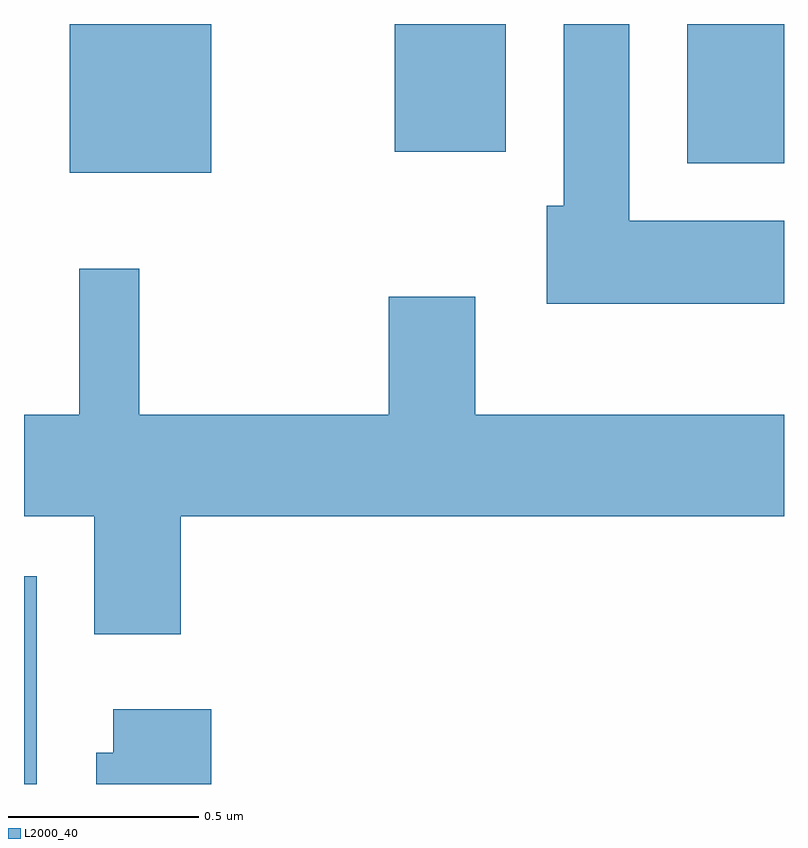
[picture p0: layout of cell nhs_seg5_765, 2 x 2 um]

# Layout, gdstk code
import gdstk
lib = gdstk.Library(unit=1e-6, precision=1e-09)
def R(c, l, rs):  # rectangles x0, y0, x1, y1
    for r in rs: c.add(gdstk.rectangle(r[:2], r[2:], *l))
def P(c, l, *ps):  # polygons
    for p in ps: c.add(gdstk.Polygon(p, *l))
L2000_40 = (2000, 40)

nhs_seg5_765 = lib.new_cell('nhs_seg5_765')
R(nhs_seg5_765, L2000_40, [(190.611,1476.072,190.644,1476.619), (190.731,1477.681,191.104,1478.072), (192.356,1477.706,192.611,1478.072), (191.586,1477.736,191.879,1478.072)])
P(nhs_seg5_765, L2000_40, [(192.611,1477.554),(192.204,1477.554),(192.204,1478.072),(192.031,1478.072),(192.031,1477.594),(191.986,1477.594),(191.986,1477.336),(192.611,1477.336)],
  [(191.024,1476.776),(192.611,1476.776),(192.611,1477.044),(191.799,1477.044),(191.799,1477.354),(191.571,1477.354),(191.571,1477.044),(190.914,1477.044),(190.914,1477.428),(190.756,1477.428),(190.756,1477.044),(190.611,1477.044),(190.611,1476.776),(190.796,1476.776),(190.796,1476.466),(191.024,1476.466)],
  [(191.104,1476.269),(190.846,1476.269),(190.846,1476.154),(190.801,1476.154),(190.801,1476.072),(191.104,1476.072)])

lib.write_gds('nhs_seg5_765.gds')
